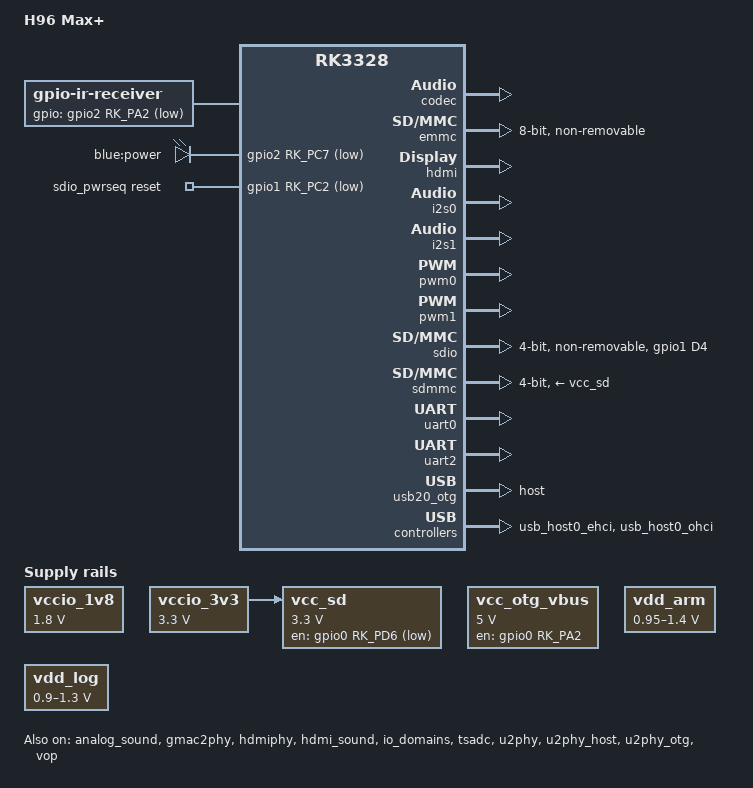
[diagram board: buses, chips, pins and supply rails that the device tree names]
// SPDX-License-Identifier: (GPL-2.0+ OR MIT)

/dts-v1/;
#include "rk3328.dtsi"

/ {
	model = "H96 Max+";
	compatible = "haochuangyi,h96-max-plus", "rockchip,rk3328";

	chosen {
		stdout-path = "serial2:1500000n8";
	};

	gpu_opp_table: gpu-opp-table {
		compatible = "operating-points-v2";
		nvmem-cells = <&logic_leakage>;
		nvmem-cell-names = "gpu_leakage";

		opp-200000000 {
			opp-hz = /bits/ 64 <200000000>;
			opp-microvolt = <925000>;
		};

		opp-300000000 {
			opp-hz = /bits/ 64 <300000000>;
			opp-microvolt = <975000>;
		};

		opp-400000000 {
			opp-hz = /bits/ 64 <400000000>;
			opp-microvolt = <1050000>;
		};

		opp-500000000 {
			opp-hz = /bits/ 64 <500000000>;
			opp-microvolt = <1125000>;
		};
	};

	ir-receiver {
		compatible = "gpio-ir-receiver";
		gpios = <&gpio2 RK_PA2 GPIO_ACTIVE_LOW>;
		linux,rc-map-name = "rc-x96max";
		pinctrl-0 = <&ir_int>;
		pinctrl-names = "default";
	};

	leds {
		compatible = "gpio-leds";
		pinctrl-0 = <&power_led_pin>;
		pinctrl-names = "default";

		power_led: led-0 {
			default-state = "on";
			gpios = <&gpio2 RK_PC7 GPIO_ACTIVE_LOW>;
			label = "blue:power";
		};
	};

	sdio_pwrseq: sdio-pwrseq {
		compatible = "mmc-pwrseq-simple";
		pinctrl-0 = <&wifi_enable_h>;
		pinctrl-names = "default";
		reset-gpios = <&gpio1 RK_PC2 GPIO_ACTIVE_LOW>;
	};

	/* Power tree */
	vccio_1v8: vccio-1v8-regulator {
		compatible = "regulator-fixed";
		regulator-name = "vccio_1v8";
		regulator-min-microvolt = <1800000>;
		regulator-max-microvolt = <1800000>;
		regulator-always-on;
	};

	vccio_3v3: vccio-3v3-regulator {
		compatible = "regulator-fixed";
		regulator-name = "vccio_3v3";
		regulator-min-microvolt = <3300000>;
		regulator-max-microvolt = <3300000>;
		regulator-always-on;
	};

	vcc_otg_vbus: otg-vbus-regulator {
		compatible = "regulator-fixed";
		gpio = <&gpio0 RK_PA2 GPIO_ACTIVE_HIGH>;
		pinctrl-0 = <&otg_vbus_drv>;
		pinctrl-names = "default";
		regulator-name = "vcc_otg_vbus";
		regulator-min-microvolt = <5000000>;
		regulator-max-microvolt = <5000000>;
		enable-active-high;
	};

	vcc_sd: sdmmc-regulator {
		compatible = "regulator-fixed";
		gpio = <&gpio0 RK_PD6 GPIO_ACTIVE_LOW>;
		pinctrl-0 = <&sdmmc0m1_pin>;
		pinctrl-names = "default";
		regulator-name = "vcc_sd";
		regulator-min-microvolt = <3300000>;
		regulator-max-microvolt = <3300000>;
		vin-supply = <&vccio_3v3>;
	};

	vdd_arm: vdd-arm {
		compatible = "pwm-regulator";
		pwms = <&pwm0 0 5000 1>;
		regulator-name = "vdd_arm";
		regulator-min-microvolt = <950000>;
		regulator-max-microvolt = <1400000>;
		regulator-settling-time-up-us = <250>;
		regulator-always-on;
		regulator-boot-on;
	};

	vdd_log: vdd-log {
		compatible = "pwm-regulator";
		pwms = <&pwm1 0 5000 1>;
		regulator-name = "vdd_log";
		regulator-min-microvolt = <900000>;
		regulator-max-microvolt = <1300000>;
		regulator-settling-time-up-us = <250>;
		regulator-always-on;
		regulator-boot-on;
	};
};

&analog_sound {
	status = "okay";
};

&codec {
	status = "okay";
};

&cpu0 {
	cpu-supply = <&vdd_arm>;
};

&cpu1 {
	cpu-supply = <&vdd_arm>;
};

&cpu2 {
	cpu-supply = <&vdd_arm>;
};

&cpu3 {
	cpu-supply = <&vdd_arm>;
};

&emmc {
	bus-width = <8>;
	cap-mmc-highspeed;
	non-removable;
	pinctrl-0 = <&emmc_clk &emmc_cmd &emmc_bus8>;
	pinctrl-names = "default";
	status = "okay";
};

&gmac2phy {
	assigned-clock-parents = <&cru SCLK_MAC2PHY_SRC>;
	assigned-clock-rate = <50000000>;
	assigned-clocks = <&cru SCLK_MAC2PHY>;
	clock_in_out = "output";
	status = "okay";
};

&gpu {
	mali-supply = <&vdd_log>;
	operating-points-v2 = <&gpu_opp_table>;
};

&hdmi {
	ddc-i2c-scl-high-time-ns = <9625>;
	ddc-i2c-scl-low-time-ns = <10000>;
	status = "okay";
};

&hdmiphy {
	status = "okay";
};

&hdmi_sound {
	status = "okay";
};

&i2s0 {
	status = "okay";
};

&i2s1 {
	status = "okay";
};

&io_domains {
	pmuio-supply = <&vccio_3v3>;
	vccio1-supply = <&vccio_3v3>;
	vccio2-supply = <&vccio_1v8>;
	vccio3-supply = <&vccio_3v3>;
	vccio4-supply = <&vccio_1v8>;
	vccio5-supply = <&vccio_3v3>;
	vccio6-supply = <&vccio_3v3>;
	status = "okay";
};

&pinctrl {
	pinctrl-0 = <&clk_32k_out>;
	pinctrl-names = "default";

	ir {
		ir_int: ir-int {
			rockchip,pins = <2 RK_PA2 RK_FUNC_GPIO &pcfg_pull_none>;
		};
	};

	leds {
		power_led_pin: power-led-pin {
			rockchip,pins = <2 RK_PC7 RK_FUNC_GPIO &pcfg_pull_none>;
		};
	};

	sdio-pwrseq {
		wifi_enable_h: wifi-enable-h {
			rockchip,pins = <1 RK_PC2 RK_FUNC_GPIO &pcfg_pull_none>;
		};
	};

	sdmmc1 {
		clk_32k_out: clk-32k-out {
			rockchip,pins = <1 RK_PD4 1 &pcfg_pull_none>;
		};
	};

	usb {
		host_vbus_drv: host-vbus-drv {
			rockchip,pins = <0 RK_PA0 RK_FUNC_GPIO &pcfg_pull_none>;
		};

		otg_vbus_drv: otg-vbus-drv {
			rockchip,pins = <0 RK_PA2 RK_FUNC_GPIO &pcfg_pull_none>;
		};
	};
};

&pwm0 {
	status = "okay";
};

&pwm1 {
	status = "okay";
};

&sdio {
	bus-width = <4>;
	cap-sd-highspeed;
	cap-sdio-irq;
	keep-power-in-suspend;
	max-frequency = <125000000>;
	mmc-pwrseq = <&sdio_pwrseq>;
	non-removable;
	pinctrl-0 = <&sdmmc1_bus4 &sdmmc1_cmd &sdmmc1_clk &clk_32k_out>;
	pinctrl-names = "default";
	sd-uhs-sdr104;
	status = "okay";
};

&sdmmc {
	bus-width = <4>;
	cap-sd-highspeed;
	pinctrl-0 = <&sdmmc0_clk &sdmmc0_cmd &sdmmc0_dectn &sdmmc0_bus4>;
	pinctrl-names = "default";
	vmmc-supply = <&vcc_sd>;
	status = "okay";
};

&soc_crit {
	temperature = <115000>; /* millicelsius */
};

&target {
	temperature = <105000>; /* millicelsius */
};

&threshold {
	temperature = <90000>; /* millicelsius */
};

&tsadc {
	rockchip,hw-tshut-temp = <120000>;
	status = "okay";
};

&u2phy {
	status = "okay";
};

&u2phy_host {
	status = "okay";
};

&u2phy_otg {
	phy-supply = <&vcc_otg_vbus>;
	status = "okay";
};

&uart0 {
	pinctrl-0 = <&uart0_xfer &uart0_cts>;
	status = "okay";
};

&uart2 {
	status = "okay";
};

&usb20_otg {
	dr_mode = "host";
	status = "okay";
};

&usb_host0_ehci {
	status = "okay";
};

&usb_host0_ohci {
	status = "okay";
};

&vop {
	status = "okay";
};

&vop_mmu {
	status = "okay";
};
